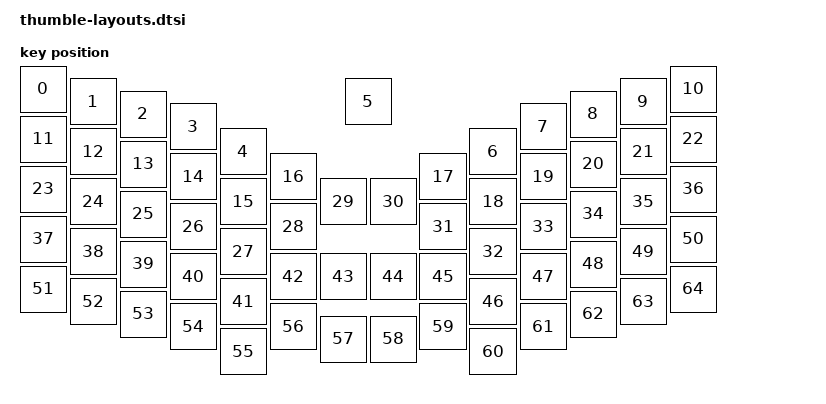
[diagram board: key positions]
#include <physical_layouts.dtsi>

/ {
    thumble_physical_layout: thumble_physical_layout {
        compatible = "zmk,physical-layout";
        display-name = "Thumble";

        keys  //                     w   h    x    y     rot    rx    ry
            = <&key_physical_attrs 100 100    0    0       0     0     0>
            , <&key_physical_attrs 100 100  100   25       0     0     0>
            , <&key_physical_attrs 100 100  200   50       0     0     0>
            , <&key_physical_attrs 100 100  300   75       0     0     0>
            , <&key_physical_attrs 100 100  400  125       0     0     0>
            , <&key_physical_attrs 100 100  650   25       0     0     0>
            , <&key_physical_attrs 100 100  900  125       0     0     0>
            , <&key_physical_attrs 100 100 1000   75       0     0     0>
            , <&key_physical_attrs 100 100 1100   50       0     0     0>
            , <&key_physical_attrs 100 100 1200   25       0     0     0>
            , <&key_physical_attrs 100 100 1300    0       0     0     0>
            , <&key_physical_attrs 100 100    0  100       0     0     0>
            , <&key_physical_attrs 100 100  100  125       0     0     0>
            , <&key_physical_attrs 100 100  200  150       0     0     0>
            , <&key_physical_attrs 100 100  300  175       0     0     0>
            , <&key_physical_attrs 100 100  400  225       0     0     0>
            , <&key_physical_attrs 100 100  500  175       0     0     0>
            , <&key_physical_attrs 100 100  800  175       0     0     0>
            , <&key_physical_attrs 100 100  900  225       0     0     0>
            , <&key_physical_attrs 100 100 1000  175       0     0     0>
            , <&key_physical_attrs 100 100 1100  150       0     0     0>
            , <&key_physical_attrs 100 100 1200  125       0     0     0>
            , <&key_physical_attrs 100 100 1300  100       0     0     0>
            , <&key_physical_attrs 100 100    0  200       0     0     0>
            , <&key_physical_attrs 100 100  100  225       0     0     0>
            , <&key_physical_attrs 100 100  200  250       0     0     0>
            , <&key_physical_attrs 100 100  300  275       0     0     0>
            , <&key_physical_attrs 100 100  400  325       0     0     0>
            , <&key_physical_attrs 100 100  500  275       0     0     0>
            , <&key_physical_attrs 100 100  600  225       0     0     0>
            , <&key_physical_attrs 100 100  700  225       0     0     0>
            , <&key_physical_attrs 100 100  800  275       0     0     0>
            , <&key_physical_attrs 100 100  900  325       0     0     0>
            , <&key_physical_attrs 100 100 1000  275       0     0     0>
            , <&key_physical_attrs 100 100 1100  250       0     0     0>
            , <&key_physical_attrs 100 100 1200  225       0     0     0>
            , <&key_physical_attrs 100 100 1300  200       0     0     0>
            , <&key_physical_attrs 100 100    0  300       0     0     0>
            , <&key_physical_attrs 100 100  100  325       0     0     0>
            , <&key_physical_attrs 100 100  200  350       0     0     0>
            , <&key_physical_attrs 100 100  300  375       0     0     0>
            , <&key_physical_attrs 100 100  400  425       0     0     0>
            , <&key_physical_attrs 100 100  500  375       0     0     0>
            , <&key_physical_attrs 100 100  600  375       0     0     0>
            , <&key_physical_attrs 100 100  700  375       0     0     0>
            , <&key_physical_attrs 100 100  800  375       0     0     0>
            , <&key_physical_attrs 100 100  900  425       0     0     0>
            , <&key_physical_attrs 100 100 1000  375       0     0     0>
            , <&key_physical_attrs 100 100 1100  350       0     0     0>
            , <&key_physical_attrs 100 100 1200  325       0     0     0>
            , <&key_physical_attrs 100 100 1300  300       0     0     0>
            , <&key_physical_attrs 100 100    0  400       0     0     0>
            , <&key_physical_attrs 100 100  100  425       0     0     0>
            , <&key_physical_attrs 100 100  200  450       0     0     0>
            , <&key_physical_attrs 100 100  300  475       0     0     0>
            , <&key_physical_attrs 100 100  400  525       0     0     0>
            , <&key_physical_attrs 100 100  500  475       0     0     0>
            , <&key_physical_attrs 100 100  600  500       0     0     0>
            , <&key_physical_attrs 100 100  700  500       0     0     0>
            , <&key_physical_attrs 100 100  800  475       0     0     0>
            , <&key_physical_attrs 100 100  900  525       0     0     0>
            , <&key_physical_attrs 100 100 1000  475       0     0     0>
            , <&key_physical_attrs 100 100 1100  450       0     0     0>
            , <&key_physical_attrs 100 100 1200  425       0     0     0>
            , <&key_physical_attrs 100 100 1300  400       0     0     0>
            ;
    };
};
